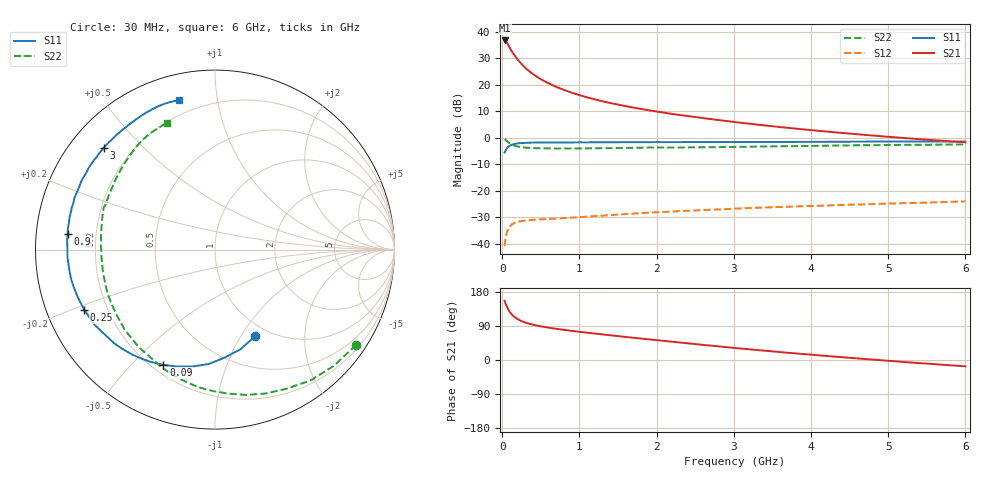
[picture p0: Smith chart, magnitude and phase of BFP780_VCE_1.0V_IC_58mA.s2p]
! Infineon Technologies  Discrete & RF Semiconductors
! BFP780
! VCE =  1.0 V,  IC =  58 mA
! Common Emitter S-Parameters:  Jul 2015
# GHz  S  MA  R  50
!  f  S11  S21  S12  S22
! GHz  MAG  ANG  MAG  ANG  MAG  ANG  MAG  ANG
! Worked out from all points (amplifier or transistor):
!   75 points, 30 MHz to 6 GHz, reference 50 ohm
!   highest |S21| = 36.8 dB at 30 MHz (marker M1)
!   |S21| within 3 dB of that: start of sweep to 100.6 MHz
!   unconditionally stable (mu >= 1): 1.947 GHz to end of sweep
!   at 150 MHz: K = 0.13, MSG = 31.8 dB, |S12| = -32.1 dB
!   at 2.3 GHz: K = 1.10, MAG = 16.2 dB, |S12| = -27.6 dB
!   at 6 GHz: K = 1.55, MAG = 6.8 dB, |S12| = -23.9 dB
!   S11 on the Smith chart (normalised r, x): 30 MHz: 0.85, -1.15; 90 MHz: 0.24, -0.62; 250 MHz: 0.11, -0.22; 900 MHz: 0.10, +0.05; 3 GHz: 0.10, +0.39; 6 GHz: 0.12, +0.78
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0.03  0.5322 -65.3  69.22 156.0  0.0091 72.4  0.9488 -34.0
0.04  0.5727 -75.5  67.72 150.5  0.0126 63.0  0.9262 -44.4
0.05  0.6029 -84.5  65.53 145.3  0.0146 61.1  0.9027 -53.9
0.06  0.6382 -93.1  62.53 140.8  0.0168 52.7  0.8721 -62.6
0.08  0.6851 -108.0  55.63 132.3  0.0198 46.5  0.8281 -77.9
0.09  0.7037 -114.1  52.23 128.8  0.0206 43.8  0.8069 -84.4
0.11  0.7324 -123.8  46.44 123.1  0.0223 38.5  0.7741 -96.2
0.12  0.7428 -127.7  44.01 120.7  0.023 37.2  0.7583 -101.1
0.15  0.7668 -137.1  37.79 114.9  0.0247 31.8  0.7234 -113.4
0.2  0.7909 -147.9  30.02 107.7  0.026 27.1  0.6897 -128.2
0.25  0.8022 -155.3  24.8 102.6  0.0271 23.3  0.6723 -138.5
0.35  0.8141 -164.9  18.13 95.6  0.0281 19.9  0.6511 -152.0
0.5  0.8198 -173.4  12.84 88.8  0.0292 18.4  0.6391 -163.6
0.7  0.8225 179.3  9.193 82.2  0.0302 17.7  0.6335 -173.0
0.9  0.8253 173.9  7.151 76.9  0.0314 18.6  0.6335 -179.5
1.1  0.827 169.4  5.834 72.0  0.0329 19.1  0.6365 175.4
2.1  0.8364 151.6  2.995 50.3  0.0402 19.5  0.6586 157.9
3  0.8404 137.5  2.012 31.9  0.0464 16.9  0.6789 144.0
3.1  0.8405 136.1  1.933 30.1  0.0469 16.5  0.6821 142.6
4.1  0.8472 122.4  1.365 12.3  0.0526 12.6  0.7122 130.3
5.1  0.8592 111.6  1.028 -3.6  0.0584 8.0  0.7394 120.0
6  0.8568 103.7  0.828 -16.8  0.0637 3.4  0.7545 110.8
